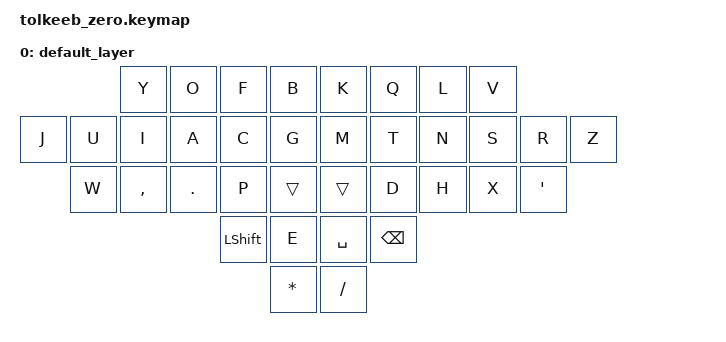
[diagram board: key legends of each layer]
#include <behaviors.dtsi>
#include <dt-bindings/zmk/keys.h>

/ {
    keymap {
        compatible = "zmk,keymap";

        // TODO -> Proper default keymap!
        default_layer {
            bindings = <
                        &kp Y       &kp O           &kp F        &kp B               &kp K          &kp Q       &kp L     &kp V
    &kp J    &kp U      &kp I       &kp A           &kp C        &kp G               &kp M          &kp T       &kp N     &kp S   &kp R   &kp Z
             &kp W      &kp COMMA   &kp PERIOD      &kp P        &trans              &trans         &kp D       &kp H     &kp X   &kp SINGLE_QUOTE

                                                    &kp LSHIFT   &kp E               &kp SPACE      &kp BACKSPACE
                                                                 &kp ASTERISK        &kp SLASH      
            >;
        };
    };
};
